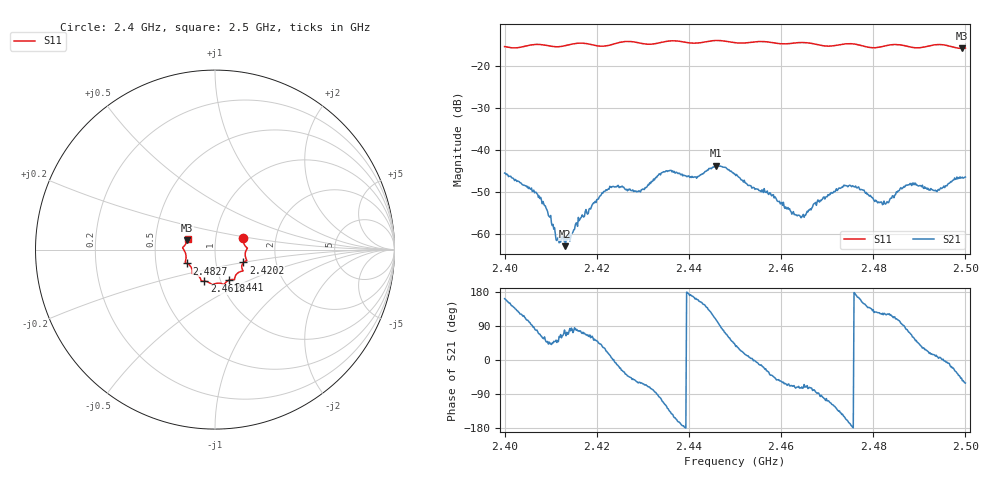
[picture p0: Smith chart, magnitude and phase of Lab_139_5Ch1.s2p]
# Hz S RI R 50
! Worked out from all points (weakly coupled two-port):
!   601 points, 2.4 GHz to 2.5 GHz, reference 50 ohm
!   highest |S21| = -43.69 dB at 2.4458 GHz (marker M1); lowest = -62.8 dB at 2.4132 GHz (marker M2)
!   lowest |S11| = -15.8 dB at 2.4993 GHz (marker M3), VSWR 1.39, Z = 36.5 + j3.84 ohm
!   |S11| at or under -10 dB: start of sweep to end of sweep
!   S12 and S22 are empty: the file has one direction only
!   S11 on the Smith chart (normalised r, x): 2.4 GHz: 1.36, +0.18; 2.4202 GHz: 1.36, -0.20; 2.441 GHz: 1.10, -0.39; 2.4618 GHz: 0.84, -0.30; 2.4827 GHz: 0.72, -0.11; 2.5 GHz: 0.73, +0.09
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2.4e9  0.1584 0.063  -0.0051 0.00168  0 0  0 0
2.407333e9  0.1807 0.00793  0.000914 0.00259  0 0  0 0
2.4115e9  0.1681 -0.0219  0.000554 0.000694  0 0  0 0
2.413167e9  0.1698 -0.041  0.000238 0.000686  0 0  0 0
2.416667e9  0.1773 -0.0609  0.000502 0.00152  0 0  0 0
2.420167e9  0.1584 -0.0715  0.00169 0.00199  0 0  0 0
2.423333e9  0.1497 -0.1007  0.0037 0.00028  0 0  0 0
2.429833e9  0.1381 -0.1236  0.00165 -0.00299  0 0  0 0
2.433333e9  0.1114 -0.1507  -0.000362 -0.00501  0 0  0 0
2.441e9  0.0787 -0.1697  -0.00463 0.00112  0 0  0 0
2.445833e9  0.0501 -0.195  -0.00191 0.00626  0 0  0 0
2.45e9  0.0284 -0.1874  0.00396 0.00338  0 0  0 0
2.461833e9  -0.0592 -0.1755  0.000756 -0.00188  0 0  0 0
2.464667e9  -0.0757 -0.1746  0.000441 -0.00161  0 0  0 0
2.466667e9  -0.0789 -0.1683  0.000539 -0.00199  0 0  0 0
2.474e9  -0.1252 -0.1344  -0.00346 -0.00161  0 0  0 0
2.482667e9  -0.1561 -0.0772  -0.00116 0.00198  0 0  0 0
2.483333e9  -0.1605 -0.075  -0.0012 0.00206  0 0  0 0
2.4875e9  -0.162 -0.0548  0.000868 0.00375  0 0  0 0
2.493833e9  -0.18 0.0083  0.00318 0.000522  0 0  0 0
2.499333e9  -0.154 0.0512  0.00277 -0.00391  0 0  0 0
2.5e9  -0.1521 0.0608  0.00235 -0.0042  0 0  0 0
